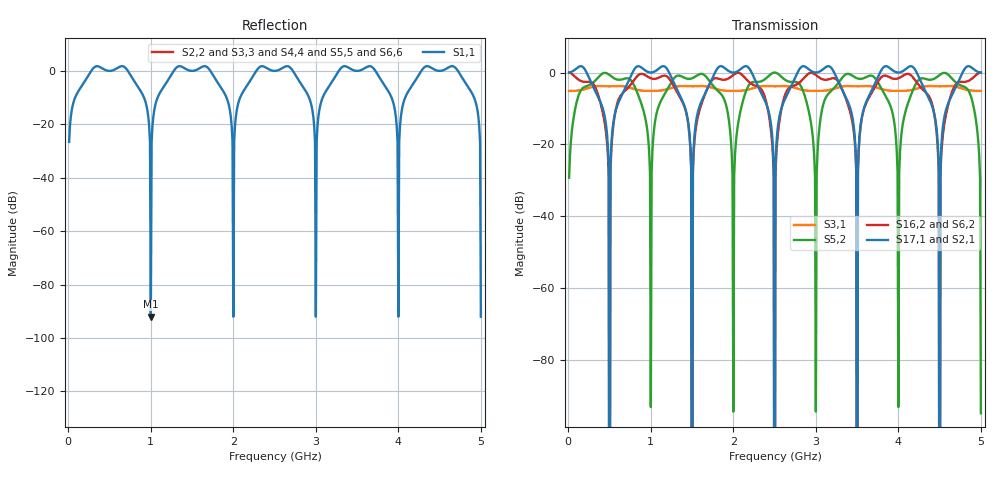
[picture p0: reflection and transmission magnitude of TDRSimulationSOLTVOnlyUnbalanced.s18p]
# MHz MA S R 50.0
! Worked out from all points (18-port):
!   500 points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, 10 MHz to 5 GHz, reference 50 ohm
!   strongest paths, dB at 10 MHz, 1.26 GHz, 2.51 GHz, 3.76 GHz, 5 GHz:
!     S17,1: 0.0, -1.9, -26.6, -0.9, 0.0
!     S2,1: 0.0, -1.9, -26.6, -0.9, 0.0
!     S16,2: 0.0, -3.0, -29.3, -2.3, 0.0
!     S6,2: 0.0, -3.0, -29.3, -2.3, 0.0
!     S5,2: -29.3, -2.3, 0.0, -3.0, -94.9
!     S3,1: -5.1, -4.2, -3.8, -4.4, -5.1
!   lowest |S11| = -92.0 dB at 1 GHz (marker M1), VSWR 1.00, Z = 50 + j0 ohm
!   |S11| at or under -10 dB: 917.4 MHz to 1.083 GHz (165.2 MHz wide, 16.5 % of centre); 1.917 GHz to 2.083 GHz (165.2 MHz wide, 8.26 % of centre); 2.917 GHz to 3.083 GHz (165.2 MHz wide, 5.51 % of centre) (the widest 3 of 6)
